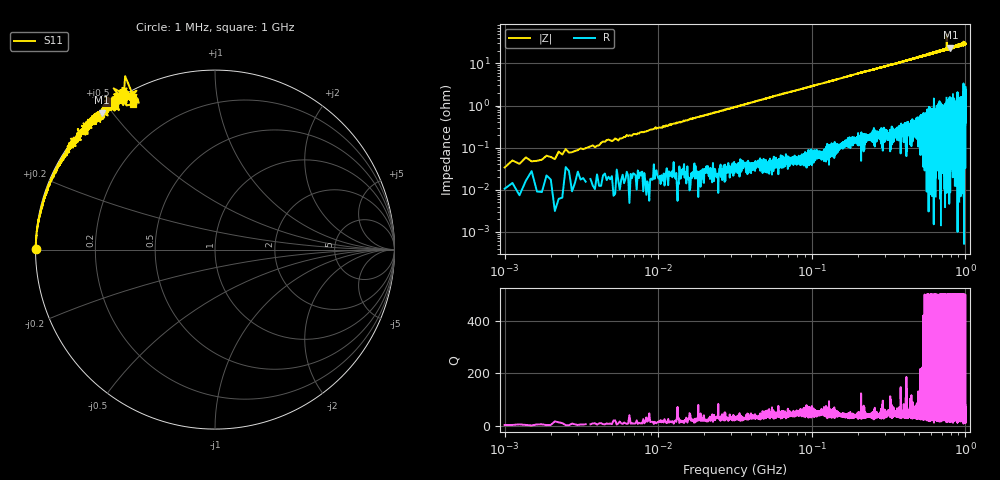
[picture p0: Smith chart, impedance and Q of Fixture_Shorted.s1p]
! ListType=Lin
# MHz S RI R 50
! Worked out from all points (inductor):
!   8001 points, 1 MHz to 1 GHz, reference 50 ohm
!   read as one part to ground: L = 4.67 nH near 5.995 MHz
!   highest Q = 149 at 798.3 MHz (marker M1), where L = 4.7 nH
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1  -0.9996 0.00129
125.875  -0.9873 0.1424
250.75  -0.9536 0.2779
375.625  -0.9056 0.4011
500.5  -0.8335 0.5184
625.375  -0.7712 0.6332
750.25  -0.6729 0.7088
750.8744  -0.6828 0.7399
750.9992  -0.6941 0.7373
760.3649  -0.671 0.726
760.9892  -0.6644 0.7455
761.1141  -0.6752 0.7102
770.3549  -0.6578 0.7274
798.3269  -0.6297 0.7627
808.5666  -0.6254 0.755
821.0541  -0.6369 0.7781
831.5436  -0.6099 0.7767
853.3967  -0.5998 0.7642
875.125  -0.5823 0.7865
884.7404  -0.5592 0.8078
888.4866  -0.5689 0.792
896.104  -0.5585 0.7944
906.3438  -0.5819 0.8093
968.1569  -0.5028 0.8225
976.3986  -0.4608 0.8893
977.8971  -0.5117 0.8616
995.005  -0.4459 0.8497
1000  -0.4564 0.8119
